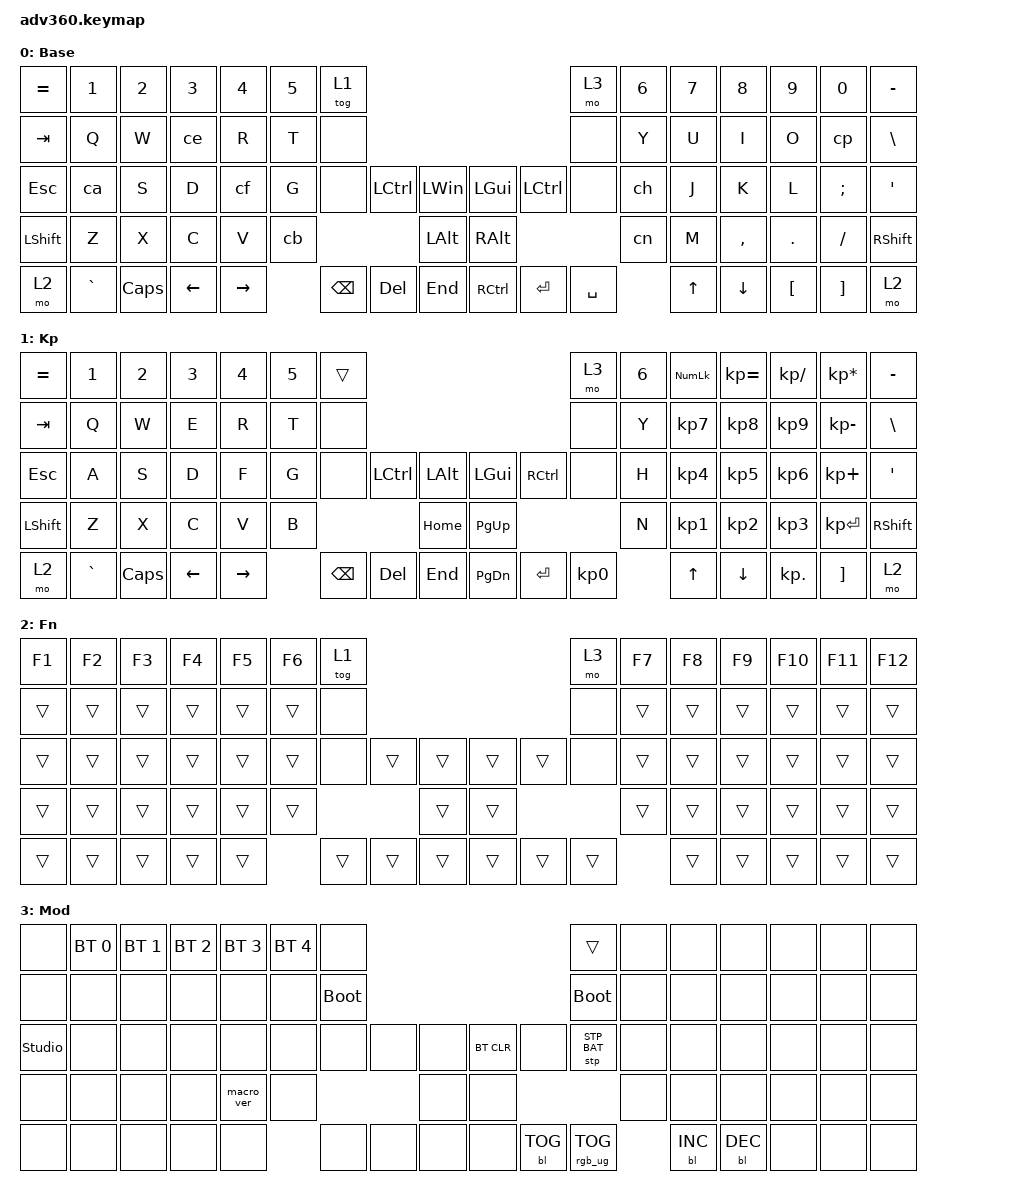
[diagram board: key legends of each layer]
#include <dt-bindings/zmk/stp.h>
#include <behaviors.dtsi>
#include <dt-bindings/zmk/backlight.h>
#include <dt-bindings/zmk/bt.h>
#include <dt-bindings/zmk/keys.h>
#include <dt-bindings/zmk/rgb.h>

/ {
    behaviors {
        #include "macros.dtsi"
      #include "version.dtsi"

        hm: homerow_mods {
            compatible = "zmk,behavior-hold-tap";
            label = "HOMEROW_MODS";
            #binding-cells = <2>;
            tapping-term-ms = <200>;
            quick_tap_ms = <175>;
            flavor = "tap-preferred";
            bindings = <&kp>, <&kp>;
        };

        ca: ca {
            compatible = "zmk,behavior-mod-morph";
            label = "CA";
            bindings = <&kp A>, <&kp HOME>;

            #binding-cells = <0>;
            mods = <(MOD_LCTL)>;
        };

        ce: ce {
            compatible = "zmk,behavior-mod-morph";
            label = "CE";
            bindings = <&kp E>, <&kp END>;

            #binding-cells = <0>;
            mods = <(MOD_LCTL)>;
        };

        cf: cf {
            compatible = "zmk,behavior-mod-morph";
            label = "CF";
            bindings = <&kp F>, <&kp RIGHT>;

            #binding-cells = <0>;
            mods = <(MOD_LCTL)>;
        };

        cb: cb {
            compatible = "zmk,behavior-mod-morph";
            label = "CB";
            bindings = <&kp B>, <&kp LEFT>;

            #binding-cells = <0>;
            mods = <(MOD_LCTL)>;
        };

        cn: cn {
            compatible = "zmk,behavior-mod-morph";
            label = "CN";
            bindings = <&kp N>, <&kp DOWN>;

            #binding-cells = <0>;
            mods = <(MOD_LCTL)>;
        };

        cp: cp {
            compatible = "zmk,behavior-mod-morph";
            label = "CP";
            bindings = <&kp P>, <&kp UP_ARROW>;

            #binding-cells = <0>;
            mods = <(MOD_LCTL)>;
        };

        ch: ch {
            compatible = "zmk,behavior-mod-morph";
            label = "CH";
            bindings = <&kp H>, <&kp BACKSPACE>;

            #binding-cells = <0>;
            mods = <(MOD_LCTL)>;
        };
    };

    combos {
        compatible = "zmk,combos";

        wp {
            bindings = <&kp LC(P)>;
            key-positions = <36 26>;
        };

        wn {
            bindings = <&kp LC(N)>;
            key-positions = <36 54>;
        };

        wa {
            bindings = <&kp LC(A)>;
            key-positions = <36 29>;
        };

        wt {
            bindings = <&kp LC(T)>;
            key-positions = <36 19>;
        };

        wf {
            bindings = <&kp LC(F)>;
            key-positions = <36 32>;
        };
    };

    keymap {
        compatible = "zmk,keymap";

        default_layer {
            display-name = "Base";
            bindings = <
&kp EQUAL  &kp N1     &kp N2    &kp N3    &kp N4     &kp N5  &tog 1                                                                  &mo 3      &kp N6  &kp N7  &kp N8     &kp N9    &kp N0    &kp MINUS
&kp TAB    &kp Q      &kp W     &ce       &kp R      &kp T   &none                                                                   &none      &kp Y   &kp U   &kp I      &kp O     &cp       &kp BSLH
&kp ESC    &ca        &kp S     &kp D     &cf        &kp G   &none     &kp LCTRL  &kp LWIN          &kp LGUI       &kp LEFT_CONTROL  &none      &ch     &kp J   &kp K      &kp L     &kp SEMI  &kp SQT
&kp LSHFT  &kp Z      &kp X     &kp C     &kp V      &cb                          &kp LEFT_ALT      &kp RIGHT_ALT                               &cn     &kp M   &kp COMMA  &kp DOT   &kp FSLH  &kp RSHFT
&mo 2      &kp GRAVE  &kp CAPS  &kp LEFT  &kp RIGHT          &kp BSPC  &kp DEL    &kp END           &kp RCTRL      &kp ENTER         &kp SPACE          &kp UP  &kp DOWN   &kp LBKT  &kp RBKT  &mo 2
            >;
        };

        keypad {
            display-name = "Kp";
            bindings = <
&kp EQUAL  &kp N1     &kp N2    &kp N3    &kp N4     &kp N5  &trans                                                   &mo 3      &kp N6  &kp KP_NUM  &kp KP_EQUAL  &kp KP_DIVIDE  &kp KP_MULTIPLY  &kp MINUS
&kp TAB    &kp Q      &kp W     &kp E     &kp R      &kp T   &none                                                    &none      &kp Y   &kp KP_N7   &kp KP_N8     &kp KP_N9      &kp KP_MINUS     &kp BSLH
&kp ESC    &kp A      &kp S     &kp D     &kp F      &kp G   &none     &kp LCTRL  &kp LALT      &kp LGUI   &kp RCTRL  &none      &kp H   &kp KP_N4   &kp KP_N5     &kp KP_N6      &kp KP_PLUS      &kp SQT
&kp LSHFT  &kp Z      &kp X     &kp C     &kp V      &kp B                        &kp HOME      &kp PG_UP                        &kp N   &kp KP_N1   &kp KP_N2     &kp KP_N3      &kp KP_ENTER     &kp RSHFT
&mo 2      &kp GRAVE  &kp CAPS  &kp LEFT  &kp RIGHT          &kp BSPC  &kp DEL    &kp END       &kp PG_DN  &kp ENTER  &kp KP_N0          &kp UP      &kp DOWN      &kp KP_DOT     &kp RBKT         &mo 2
            >;
        };

        fn {
            display-name = "Fn";
            bindings = <
&kp F1  &kp F2  &kp F3  &kp F4  &kp F5  &kp F6  &tog 1                                      &mo 3   &kp F7  &kp F8  &kp F9  &kp F10  &kp F11  &kp F12
&trans  &trans  &trans  &trans  &trans  &trans  &none                                       &none   &trans  &trans  &trans  &trans   &trans   &trans
&trans  &trans  &trans  &trans  &trans  &trans  &none   &trans  &trans      &trans  &trans  &none   &trans  &trans  &trans  &trans   &trans   &trans
&trans  &trans  &trans  &trans  &trans  &trans                  &trans      &trans                  &trans  &trans  &trans  &trans   &trans   &trans
&trans  &trans  &trans  &trans  &trans          &trans  &trans  &trans      &trans  &trans  &trans          &trans  &trans  &trans   &trans   &trans
            >;
        };

        mod {
            display-name = "Mod";
            bindings = <
&none           &bt BT_SEL 0  &bt BT_SEL 1  &bt BT_SEL 2  &bt BT_SEL 3  &bt BT_SEL 4  &none                                                  &trans           &none  &none       &none       &none  &none  &none
&none           &none         &none         &none         &none         &none         &bootloader                                            &bootloader      &none  &none       &none       &none  &none  &none
&studio_unlock  &none         &none         &none         &none         &none         &none        &none  &none      &bt BT_CLR  &none       &stp STP_BAT     &none  &none       &none       &none  &none  &none
&none           &none         &none         &none         &macro_ver    &none                             &none      &none                                    &none  &none       &none       &none  &none  &none
&none           &none         &none         &none         &none                       &none        &none  &none      &none       &bl BL_TOG  &rgb_ug RGB_TOG         &bl BL_INC  &bl BL_DEC  &none  &none  &none
            >;
        };

        extra1 {
            display-name = "Red";
            status = "reserved";
        };

        extra2 {
            display-name = "Purple";
            status = "reserved";
        };

        extra3 {
            display-name = "Cyan";
            status = "reserved";
        };

        extra4 {
            display-name = "Yellow";
            status = "reserved";
        };
    };
};
